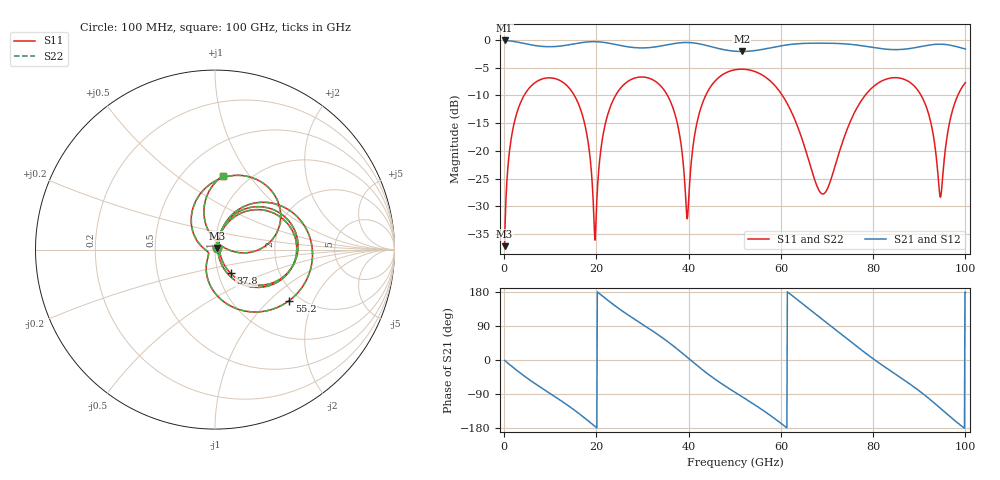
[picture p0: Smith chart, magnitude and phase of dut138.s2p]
! Touchstone file exported from HFSS 2026.1.0
!  File:  C:/ffzhzh/LocalFiles/Ansys_Project_Files/temp_train_TSV_RDL_138_1783461974_41684.aedt
!  Generated:  06:17:33 AM Jul  8, 2026
!  Design:  TSV_RDL
!  Project:  temp_train_TSV_RDL_138_1783461974_41684
! Variables:
!  h_bsmrdl = 4.62um
!  h_ox = 20um
!  h_rdl = 5um
!  h_sub = 75.11um
!  h_tmrdl = 2.88um
!  h_tsv = 75.11um
!  h_via = 3um
!  l_bsmrdl = 639.04um
!  l_sub = 2984.1um
!  l_tmrdl = 130.94um
!  m_sub = 200um
!  pitch = 52.01um
!  r_tsv = 11.28um
!  s_tmrdl = 10um
!  w_bsmrdl = 26.02um
!  w_sub = 500um
!  w_tmrdl = 21.72um
!  x_tsv_center1 = 141.8um
!  x_tsv_center2 = 806.86um
!  x_tsv_center3 = 959.52um
!  x_tsv_center4 = 1624.58um
!  x_tsv_center5 = 1777.24um
!  x_tsv_center6 = 2442.3um
# GHz S MA R 50.000000
! Terminal data exported
! Port[1] = TM_RDL1_1_T1
! Port[2] = TM_RDL5_1_T1
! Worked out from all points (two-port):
!   1000 points, 100 MHz to 100 GHz, reference 50 ohm
!   highest |S21| = -0.09 dB at 100 MHz (marker M1); lowest = -2.1 dB at 51.5 GHz (marker M2)
!   |S21| within 3 dB of the highest: start of sweep to end of sweep
!   lowest |S11| = -37.2 dB at 100 MHz (marker M3), VSWR 1.03, Z = 51 + j0.943 ohm
!   |S11| at or under -10 dB: 15.22 GHz to 24.16 GHz (8.944 GHz wide, 45.4 % of centre); 35.41 GHz to 43.7 GHz (8.295 GHz wide, 21 % of centre); 60.32 GHz to 78.26 GHz (17.94 GHz wide, 25.9 % of centre) (the widest 3 of 5)
!   |S22| runs from -37.2 to -5.3 dB; largest |S21 - S12| = 2.1e-14
!   S11 on the Smith chart (normalised r, x): 100 MHz: 1.02, +0.02; 37.8 GHz: 1.15, -0.31; 55.2 GHz: 1.76, -1.34; 100 GHz: 0.76, +0.76
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0.1  0.0138 42.0  0.9899 -1.1  0.9899 -1.1  0.0138 42.0
! Gamma 0 0 0 0
! Port Impedance 50 0 50 0
1.6  0.1345 67.7  0.9768 -16.2  0.9768 -16.2  0.1345 67.7
4.8  0.3397 40.7  0.9216 -46.2  0.9216 -46.2  0.3397 40.7
16.8  0.2212 -54.9  0.9463 -146.8  0.9463 -146.8  0.2212 -54.9
19.7  0.01564 4.0  0.9653 -175.2  0.9653 -175.2  0.0154 4.0
23.7  0.2907 52.3  0.9181 146.1  0.9181 146.1  0.2906 52.4
33.4  0.4048 -22.9  0.8739 66.5  0.8739 66.5  0.4047 -22.9
37.8  0.1577 -56.7  0.9398 26.2  0.9398 26.2  0.1576 -56.6
39.7  0.02435 7.8  0.9489 7.0  0.9489 7.0  0.02445 8.1
43  0.2689 58.5  0.9098 -25.9  0.9098 -25.9  0.269 58.5
50.1  0.5389 3.2  0.7911 -85.7  0.7911 -85.7  0.5389 3.3
51.5  0.545 -6.9  0.7871 -96.4  0.7871 -96.4  0.545 -6.9
55.2  0.5018 -34.5  0.8115 -125.2  0.8115 -125.2  0.5018 -34.4
61.5  0.261 -86.5  0.9049 179.0  0.9049 179.0  0.2609 -86.6
66.7  0.06634 -128.8  0.935 129.0  0.935 129.0  0.06613 -129.4
69.5  0.04157 -160.6  0.9351 102.3  0.9351 102.3  0.04141 -162.1
73.2  0.1145 153.1  0.9262 66.9  0.9262 66.9  0.1146 152.4
78.1  0.3101 107.4  0.8796 20.4  0.8796 20.4  0.3102 107.2
83.4  0.45 63.4  0.8219 -25.6  0.8219 -25.6  0.4501 63.3
90.8  0.294 5.8  0.879 -89.0  0.879 -89.0  0.2941 5.8
94.6  0.03813 53.1  0.9159 -127.7  0.9159 -127.7  0.03842 53.0
100  0.4124 84.1  0.8288 178.2  0.8288 178.2  0.4124 84.1
